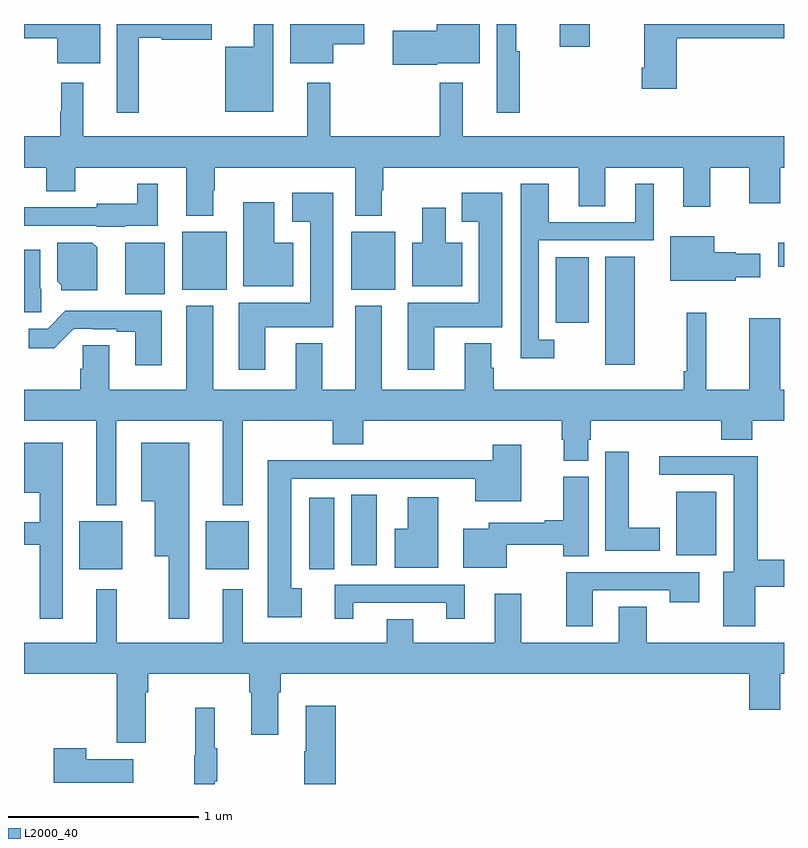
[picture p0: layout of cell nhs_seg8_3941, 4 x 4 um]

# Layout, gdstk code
import gdstk
lib = gdstk.Library(unit=1e-6, precision=1e-09)
def R(c, l, rs):  # rectangles x0, y0, x1, y1
    for r in rs: c.add(gdstk.rectangle(r[:2], r[2:], *l))
def P(c, l, *ps):  # polygons
    for p in ps: c.add(gdstk.Polygon(p, *l))
L2000_40 = (2000, 40)

nhs_seg8_3941 = lib.new_cell('nhs_seg8_3941')
R(nhs_seg8_3941, L2000_40, [(353.291,1137.029,353.518,1137.283), (353.957,1137.029,354.184,1137.283), (354.5,1137.03,354.634,1137.406), (354.722,1137.051,354.856,1137.422), (356.432,1137.104,356.644,1137.439), (356.06,1138.107,356.215,1138.676), (355.799,1138.328,355.972,1138.672), (353.534,1138.478,353.74,1138.748), (353.834,1138.502,354.067,1138.807), (354.722,1138.502,354.955,1138.807), (356.97,1138.622,357,1138.75), (355.82,1139.781,355.978,1139.9)])
P(nhs_seg8_3941, L2000_40, [(354.313,1139.9),(354.209,1139.9),(354.209,1139.78),(354.06,1139.78),(354.06,1139.438),(354.313,1139.438)],
  [(356.435,1139.824),(357,1139.824),(357,1139.9),(356.264,1139.9),(356.264,1139.671),(356.252,1139.671),(356.252,1139.559),(356.435,1139.559)],
  [(355.609,1139.757),(355.591,1139.757),(355.591,1139.9),(355.487,1139.9),(355.487,1139.433),(355.609,1139.433)],
  [(353.401,1139.9),(353,1139.9),(353,1139.824),(353.174,1139.824),(353.174,1139.693),(353.401,1139.693)],
  [(353.603,1139.828),(353.724,1139.828),(353.724,1139.818),(353.989,1139.818),(353.989,1139.9),(353.489,1139.9),(353.489,1139.433),(353.603,1139.433)],
  [(355.176,1139.693),(355.399,1139.693),(355.399,1139.9),(355.172,1139.9),(355.172,1139.864),(354.942,1139.864),(354.942,1139.686),(355.176,1139.686)],
  [(354.628,1139.794),(354.79,1139.794),(354.79,1139.9),(354.401,1139.9),(354.401,1139.693),(354.628,1139.693)],
  [(353.995,1139.024),(354.003,1139.024),(354.003,1139.144),(354.743,1139.144),(354.743,1138.892),(354.883,1138.892),(354.883,1139.024),(354.891,1139.024),(354.891,1139.144),(355.919,1139.144),(355.919,1138.942),(356.059,1138.942),(356.059,1139.144),(356.471,1139.144),(356.471,1138.938),(356.611,1138.938),(356.611,1139.144),(356.816,1139.144),(356.816,1138.956),(356.98,1138.956),(356.98,1139.144),(357,1139.144),(357,1139.308),(355.309,1139.308),(355.309,1139.59),(355.188,1139.59),(355.188,1139.308),(354.613,1139.308),(354.613,1139.59),(354.491,1139.59),(354.491,1139.308),(353.311,1139.308),(353.311,1139.59),(353.197,1139.59),(353.197,1139.441),(353.19,1139.441),(353.19,1139.308),(353,1139.308),(353,1139.144),(353.116,1139.144),(353.116,1139.02),(353.271,1139.02),(353.271,1139.144),(353.855,1139.144),(353.855,1138.892),(353.995,1138.892)],
  [(353.532,1138.838),(353.704,1138.838),(353.704,1139.059),(353.595,1139.059),(353.595,1138.954),(353.382,1138.954),(353.382,1138.935),(353,1138.935),(353,1138.839),(353.382,1138.839),(353.382,1138.832),(353.532,1138.832)],
  [(355.792,1138.239),(355.71,1138.239),(355.71,1138.761),(356.314,1138.761),(356.314,1139.059),(356.216,1139.059),(356.216,1138.857),(355.762,1138.857),(355.762,1139.059),(355.614,1139.059),(355.614,1138.142),(355.792,1138.142)],
  [(354.271,1138.304),(354.628,1138.304),(354.628,1139.011),(354.411,1139.011),(354.411,1138.859),(354.506,1138.859),(354.506,1138.432),(354.131,1138.432),(354.131,1138.08),(354.271,1138.08)],
  [(355.159,1138.304),(355.516,1138.304),(355.516,1139.011),(355.304,1139.011),(355.304,1138.859),(355.394,1138.859),(355.394,1138.432),(355.019,1138.432),(355.019,1138.08),(355.159,1138.08)],
  [(354.418,1138.75),(354.316,1138.75),(354.316,1138.963),(354.155,1138.963),(354.155,1138.52),(354.418,1138.52)],
  [(355.306,1138.75),(355.219,1138.75),(355.219,1138.933),(355.097,1138.933),(355.097,1138.75),(355.043,1138.75),(355.043,1138.52),(355.306,1138.52)],
  [(356.745,1138.568),(356.875,1138.568),(356.875,1138.69),(356.745,1138.69),(356.745,1138.698),(356.632,1138.698),(356.632,1138.783),(356.402,1138.783),(356.402,1138.55),(356.745,1138.55)],
  [(353.386,1138.724),(353.36,1138.75),(353.174,1138.75),(353.174,1138.546),(353.196,1138.524),(353.196,1138.499),(353.386,1138.499)],
  [(353.09,1138.506),(353.086,1138.506),(353.086,1138.711),(353,1138.711),(353,1138.383),(353.09,1138.383)],
  [(353.485,1137.812),(354.047,1137.812),(354.047,1137.368),(354.151,1137.368),(354.151,1137.812),(354.625,1137.812),(354.625,1137.688),(354.785,1137.688),(354.785,1137.812),(355.829,1137.812),(355.829,1137.711),(355.841,1137.711),(355.841,1137.601),(355.969,1137.601),(355.969,1137.711),(355.982,1137.711),(355.982,1137.812),(356.669,1137.812),(356.669,1137.713),(356.834,1137.713),(356.834,1137.812),(357,1137.812),(357,1137.976),(356.98,1137.976),(356.98,1138.351),(356.816,1138.351),(356.816,1137.976),(356.592,1137.976),(356.592,1138.381),(356.488,1138.381),(356.488,1138.072),(356.473,1138.072),(356.473,1137.976),(355.472,1137.976),(355.472,1138.092),(355.459,1138.092),(355.459,1138.219),(355.319,1138.219),(355.319,1137.976),(354.883,1137.976),(354.883,1138.417),(354.743,1138.417),(354.743,1137.976),(354.571,1137.976),(354.571,1138.219),(354.431,1138.219),(354.431,1137.976),(353.995,1137.976),(353.995,1138.417),(353.855,1138.417),(353.855,1137.976),(353.449,1137.976),(353.449,1138.208),(353.31,1138.208),(353.31,1138.086),(353.297,1138.086),(353.297,1137.976),(353,1137.976),(353,1137.812),(353.381,1137.812),(353.381,1137.368),(353.485,1137.368)],
  [(353.725,1138.39),(353.218,1138.39),(353.124,1138.296),(353.025,1138.296),(353.025,1138.194),(353.16,1138.194),(353.262,1138.296),(353.362,1138.296),(353.362,1138.293),(353.489,1138.293),(353.489,1138.281),(353.585,1138.281),(353.585,1138.104),(353.725,1138.104)],
  [(353.203,1137.697),(353,1137.697),(353,1137.434),(353.082,1137.434),(353.082,1137.277),(353,1137.277),(353,1137.16),(353.082,1137.16),(353.082,1136.769),(353.203,1136.769)],
  [(353.869,1137.697),(353.618,1137.697),(353.618,1137.389),(353.687,1137.389),(353.687,1137.098),(353.763,1137.098),(353.763,1136.769),(353.869,1136.769)],
  [(354.463,1136.93),(354.406,1136.93),(354.406,1137.507),(355.376,1137.507),(355.376,1137.389),(355.618,1137.389),(355.618,1137.685),(355.466,1137.685),(355.466,1137.605),(354.868,1137.605),(354.868,1137.603),(354.502,1137.603),(354.502,1137.605),(354.284,1137.605),(354.284,1136.777),(354.463,1136.777)],
  [(356.347,1137.25),(356.182,1137.25),(356.182,1137.649),(356.06,1137.649),(356.06,1137.128),(356.347,1137.128)],
  [(356.848,1136.938),(357,1136.938),(357,1137.08),(356.861,1137.08),(356.861,1137.626),(356.343,1137.626),(356.343,1137.528),(356.735,1137.528),(356.735,1137.016),(356.681,1137.016),(356.681,1136.73),(356.848,1136.73)],
  [(355.542,1137.16),(355.838,1137.16),(355.838,1137.1),(355.972,1137.1),(355.972,1137.516),(355.838,1137.516),(355.838,1137.289),(355.742,1137.289),(355.742,1137.276),(355.446,1137.276),(355.446,1137.244),(355.313,1137.244),(355.313,1137.038),(355.542,1137.038)],
  [(355.18,1137.409),(355.019,1137.409),(355.019,1137.244),(354.95,1137.244),(354.95,1137.038),(355.18,1137.038)],
  [(355.993,1136.919),(356.398,1136.919),(356.398,1136.856),(356.554,1136.856),(356.554,1137.015),(355.853,1137.015),(355.853,1136.73),(355.993,1136.73)],
  [(354.733,1136.853),(355.223,1136.853),(355.223,1136.769),(355.321,1136.769),(355.321,1136.949),(354.635,1136.949),(354.635,1136.769),(354.733,1136.769)],
  [(353.641,1136.384),(353.654,1136.384),(353.654,1136.48),(354.185,1136.48),(354.185,1136.384),(354.197,1136.384),(354.197,1136.16),(354.337,1136.16),(354.337,1136.384),(354.35,1136.384),(354.35,1136.48),(356.816,1136.48),(356.816,1136.292),(356.98,1136.292),(356.98,1136.48),(357,1136.48),(357,1136.644),(356.277,1136.644),(356.277,1136.834),(356.129,1136.834),(356.129,1136.644),(355.618,1136.644),(355.618,1136.902),(355.478,1136.902),(355.478,1136.644),(355.048,1136.644),(355.048,1136.768),(354.908,1136.768),(354.908,1136.644),(354.151,1136.644),(354.151,1136.926),(354.047,1136.926),(354.047,1136.644),(353.488,1136.644),(353.488,1136.926),(353.381,1136.926),(353.381,1136.644),(353,1136.644),(353,1136.48),(353.489,1136.48),(353.489,1136.118),(353.641,1136.118)],
  [(354.641,1136.311),(354.482,1136.311),(354.482,1136.072),(354.475,1136.072),(354.475,1135.9),(354.641,1135.9)],
  [(354.005,1135.915),(354.016,1135.915),(354.016,1136.089),(354.005,1136.089),(354.005,1136.302),(353.902,1136.302),(353.902,1136.052),(353.895,1136.052),(353.895,1135.9),(354.005,1135.9)],
  [(353.575,1136.029),(353.327,1136.029),(353.327,1136.089),(353.156,1136.089),(353.156,1135.907),(353.575,1135.907)])

lib.write_gds('nhs_seg8_3941.gds')
